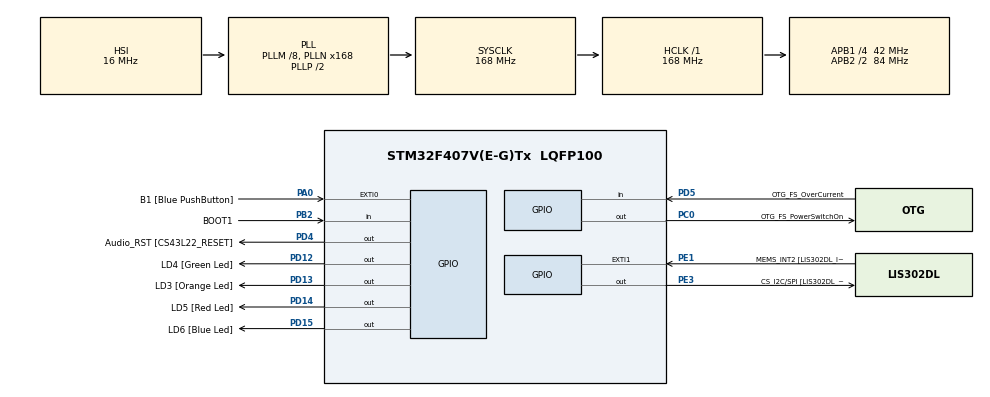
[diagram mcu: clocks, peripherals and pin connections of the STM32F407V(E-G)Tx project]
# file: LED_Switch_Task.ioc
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Mcu.Family=STM32F4
Mcu.Name=STM32F407V(E-G)Tx
Mcu.Package=LQFP100
NVIC.PriorityGroup=NVIC_PRIORITYGROUP_4
NVIC.TIM6_DAC_IRQn=true\:0\:0\:false\:false\:true\:false\:true\:true
NVIC.TimeBase=TIM6_DAC_IRQn
NVIC.TimeBaseIP=TIM6
PA0-WKUP.GPIO_Label=B1 [Blue PushButton]
PA0-WKUP.Signal=GPXTI0
PA10.GPIO_Label=OTG_FS_ID
PA10.GPIO_Mode=GPIO_MODE_AF_PP
PA10.GPIO_PuPd=GPIO_NOPULL
PA10.GPIO_Speed=GPIO_SPEED_FREQ_LOW
PA10.Signal=USB_OTG_FS_ID
PA11.GPIO_Label=OTG_FS_DM
PA11.GPIO_Mode=GPIO_MODE_AF_PP
PA11.GPIO_PuPd=GPIO_NOPULL
PA11.GPIO_Speed=GPIO_SPEED_FREQ_LOW
PA11.Signal=USB_OTG_FS_DM
PA12.GPIO_Label=OTG_FS_DP
PA12.GPIO_Mode=GPIO_MODE_AF_PP
PA12.GPIO_PuPd=GPIO_NOPULL
PA12.GPIO_Speed=GPIO_SPEED_FREQ_LOW
PA12.Signal=USB_OTG_FS_DP
PA13.GPIO_Label=SWDIO
PA13.Signal=SYS_JTMS-SWDIO
PA14.GPIO_Label=SWCLK
PA14.Signal=SYS_JTCK-SWCLK
PA4.GPIO_Label=I2S3_WS [CS43L22_LRCK]
PA4.GPIO_Mode=GPIO_MODE_AF_PP
PA4.GPIO_PuPd=GPIO_NOPULL
PA4.GPIO_Speed=GPIO_SPEED_FREQ_LOW
PA4.Signal=I2S3_WS
PA5.GPIO_Label=SPI1_SCK [LIS302DL_SCL/SPC]
PA5.GPIO_Mode=GPIO_MODE_AF_PP
PA5.GPIO_PuPd=GPIO_NOPULL
PA5.GPIO_Speed=GPIO_SPEED_FREQ_LOW
PA5.Signal=SPI1_SCK
PA6.GPIO_Label=SPI1_MISO [LIS302DL_SDO]
PA6.GPIO_Mode=GPIO_MODE_AF_PP
PA6.GPIO_PuPd=GPIO_NOPULL
PA6.GPIO_Speed=GPIO_SPEED_FREQ_LOW
PA6.Signal=SPI1_MISO
PA7.GPIO_Label=SPI1_MOSI [LIS302DL_SDA/SDI/SDO]
PA7.GPIO_Mode=GPIO_MODE_AF_PP
PA7.GPIO_PuPd=GPIO_NOPULL
PA7.GPIO_Speed=GPIO_SPEED_FREQ_LOW
PA7.Signal=SPI1_MOSI
PA9.GPIO_Label=VBUS_FS
PA9.GPIO_Mode=GPIO_MODE_INPUT
PA9.GPIO_PuPd=GPIO_NOPULL
PA9.Signal=USB_OTG_FS_VBUS
PB10.GPIO_Label=CLK_IN [MP45DT02_CLK]
PB10.GPIO_Mode=GPIO_MODE_AF_PP
PB10.GPIO_PuPd=GPIO_NOPULL
PB10.GPIO_Speed=GPIO_SPEED_FREQ_LOW
PB10.Signal=I2S2_CK
PB2.GPIO_Label=BOOT1
PB2.GPIO_Mode=GPIO_MODE_INPUT
PB2.GPIO_PuPd=GPIO_NOPULL
PB2.Signal=GPIO_Input
PB3.GPIO_Label=SWO
PB3.Signal=SYS_JTDO-SWO
PB6.GPIO_Label=Audio_SCL [CS43L22_SCL]
PB6.GPIO_Mode=GPIO_MODE_AF_OD
PB6.GPIO_PuPd=GPIO_NOPULL
PB6.GPIO_Speed=GPIO_SPEED_FREQ_LOW
PB6.Signal=I2C1_SCL
PB9.GPIO_Label=Audio_SDA [CS43L22_SDA]
PB9.GPIO_Mode=GPIO_MODE_AF_OD
PB9.GPIO_PuPd=GPIO_NOPULL
PB9.GPIO_Speed=GPIO_SPEED_FREQ_LOW
PB9.Signal=I2C1_SDA
PC0.GPIO_Label=OTG_FS_PowerSwitchOn
PC0.GPIO_PuPd=GPIO_NOPULL
PC0.GPIO_Speed=GPIO_SPEED_FREQ_LOW
PC0.PinState=GPIO_PIN_SET
PC0.Signal=GPIO_Output
PC10.GPIO_Label=I2S3_SCK [CS43L22_SCLK]
PC10.GPIO_Mode=GPIO_MODE_AF_PP
PC10.GPIO_PuPd=GPIO_NOPULL
PC10.GPIO_Speed=GPIO_SPEED_FREQ_LOW
PC10.Signal=I2S3_CK
PC12.GPIO_Label=I2S3_SD [CS43L22_SDIN]
PC12.GPIO_Mode=GPIO_MODE_AF_PP
PC12.GPIO_PuPd=GPIO_NOPULL
PC12.GPIO_Speed=GPIO_SPEED_FREQ_LOW
PC12.Signal=I2S3_SD
PC14-OSC32_IN.GPIO_Label=PC14-OSC32_IN
PC14-OSC32_IN.Signal=RCC_OSC32_IN
PC15-OSC32_OUT.GPIO_Label=PC15-OSC32_OUT
PC15-OSC32_OUT.Signal=RCC_OSC32_OUT
PC3.GPIO_Label=PDM_OUT [MP45DT02_DOUT]
PC3.GPIO_Mode=GPIO_MODE_AF_PP
PC3.GPIO_PuPd=GPIO_NOPULL
PC3.GPIO_Speed=GPIO_SPEED_FREQ_LOW
PC3.Signal=I2S2_SD
PC7.GPIO_Label=I2S3_MCK [CS43L22_MCLK]
PC7.GPIO_Mode=GPIO_MODE_AF_PP
PC7.GPIO_PuPd=GPIO_NOPULL
PC7.GPIO_Speed=GPIO_SPEED_FREQ_LOW
PC7.Signal=I2S3_MCK
PD12.GPIO_Label=LD4 [Green Led]
PD12.GPIO_PuPd=GPIO_NOPULL
PD12.GPIO_Speed=GPIO_SPEED_FREQ_LOW
PD12.Signal=GPIO_Output
PD13.GPIO_Label=LD3 [Orange Led]
PD13.GPIO_PuPd=GPIO_NOPULL
PD13.GPIO_Speed=GPIO_SPEED_FREQ_LOW
PD13.Signal=GPIO_Output
PD14.GPIO_Label=LD5 [Red Led]
PD14.GPIO_PuPd=GPIO_NOPULL
PD14.GPIO_Speed=GPIO_SPEED_FREQ_LOW
PD14.Signal=GPIO_Output
PD15.GPIO_Label=LD6 [Blue Led]
PD15.GPIO_PuPd=GPIO_NOPULL
PD15.GPIO_Speed=GPIO_SPEED_FREQ_LOW
PD15.Signal=GPIO_Output
PD4.GPIO_Label=Audio_RST [CS43L22_RESET]
PD4.GPIO_PuPd=GPIO_NOPULL
PD4.GPIO_Speed=GPIO_SPEED_FREQ_LOW
PD4.Signal=GPIO_Output
PD5.GPIO_Label=OTG_FS_OverCurrent
PD5.GPIO_Mode=GPIO_MODE_INPUT
PD5.GPIO_PuPd=GPIO_NOPULL
PD5.Signal=GPIO_Input
PE1.GPIO_Label=MEMS_INT2 [LIS302DL_INT2]
PE1.GPIO_ModeDefaultEXTI=GPIO_MODE_EVT_RISING
PE1.GPIO_PuPd=GPIO_NOPULL
PE1.Signal=GPXTI1
PE3.GPIO_Label=CS_I2C/SPI [LIS302DL_CS_I2C/SPI]
PE3.GPIO_PuPd=GPIO_NOPULL
PE3.GPIO_Speed=GPIO_SPEED_FREQ_LOW
PE3.Signal=GPIO_Output
PH0-OSC_IN.GPIO_Label=PH0-OSC_IN
PH0-OSC_IN.Signal=RCC_OSC_IN
PH1-OSC_OUT.GPIO_Label=PH1-OSC_OUT
PH1-OSC_OUT.Signal=RCC_OSC_OUT
ProjectManager.HeapSize=0x200
ProjectManager.StackSize=0x400
ProjectManager.TargetToolchain=STM32CubeIDE
RCC.48MHZClocksFreq_Value=48000000
RCC.AHBFreq_Value=168000000
RCC.APB1CLKDivider=RCC_HCLK_DIV4
RCC.APB1Freq_Value=42000000
RCC.APB1TimFreq_Value=84000000
RCC.APB2CLKDivider=RCC_HCLK_DIV2
RCC.APB2Freq_Value=84000000
RCC.APB2TimFreq_Value=168000000
RCC.CortexFreq_Value=168000000
RCC.HCLKFreq_Value=168000000
RCC.HSE_VALUE=8000000
RCC.HSI_VALUE=16000000
RCC.LSE_VALUE=32768
RCC.PLLM=8
RCC.PLLN=168
RCC.PLLQ=7
RCC.SYSCLKFreq_VALUE=168000000
RCC.SYSCLKSource=RCC_SYSCLKSOURCE_PLLCLK
RCC.VCOOutputFreq_Value=336000000
VP_SYS_VS_tim6.Mode=TIM6
board=STM32F407G-DISC1

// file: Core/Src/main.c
/* USER CODE BEGIN Header */
/**
  ******************************************************************************
  * @file           : main.c
  * @brief          : Main program body
  ******************************************************************************
  * @attention
  *
  * Copyright (c) 2025 STMicroelectronics.
  * All rights reserved.
  *
  * This software is licensed under terms that can be found in the LICENSE file
  * in the root directory of this software component.
  * If no LICENSE file comes with this software, it is provided AS-IS.
  *
  ******************************************************************************
  */
/* USER CODE END Header */
#include "main.h"

/* USER CODE BEGIN Includes */
#include "FreeRTOS.h"
#include "task.h"
#include <stdio.h>
/* USER CODE END Includes */

/* USER CODE BEGIN PV */

#define DWT_CTRL	(*(volatile uint32_t *)0xE0001000)

/* USER CODE END PV */

void SystemClock_Config(void);
static void MX_GPIO_Init(void);
/* USER CODE BEGIN PFP */

extern void SEGGER_UART_init(uint32_t);

void Red_LED_task(void *);
void Green_LED_task(void *);
void Orange_LED_task(void *);
void Switch_task(void *);

/* USER CODE END PFP */

int main(void)
{

  /* USER CODE BEGIN 1 */
	TaskHandle_t Red_LED_Handler, Green_LED_Handler, Orange_LED_Handler, Switch_Handler;
	BaseType_t status;
  /* USER CODE END 1 */

  /* MCU Configuration--------------------------------------------------------*/

  /* Reset of all peripherals, Initializes the Flash interface and the Systick. */
  HAL_Init();

  /* Configure the system clock */
  SystemClock_Config();

  /* Initialize all configured peripherals */
  MX_GPIO_Init();
  /* USER CODE BEGIN 2 */
  SEGGER_UART_init(500000);
  //Enable CYCCNT counter
  DWT_CTRL |= (1 << 0);

  SEGGER_SYSVIEW_Conf();
  //SEGGER_SYSVIEW_Start();

  status = xTaskCreate(Red_LED_task, "Red Task", 200, "Hello from Red Task", 1, &Red_LED_Handler);
  configASSERT(status == pdPASS);

  status = xTaskCreate(Green_LED_task, "Green Task", 200, "Hello from Green Task", 1, &Green_LED_Handler);
  configASSERT(status == pdPASS);Switch_task

  status = xTaskCreate(Orange_LED_task, "Orange Task", 200, "Hello from Orange Task", 1, &Orange_LED_Handler);
  configASSERT(status == pdPASS);

  status = xTaskCreate(Switch_task, "Switch Task", 200, "Hello from Orange Task", 4, &Switch_Handler);
  configASSERT(status == pdPASS);

  vTaskStartScheduler();

  // Insufficient memory in heap then control comes here
  /* USER CODE END 2 */

  /* Infinite loop */
  while (1)
  {

  }
}

void SystemClock_Config(void)
{
  RCC_OscInitTypeDef RCC_OscInitStruct = {0};
  RCC_ClkInitTypeDef RCC_ClkInitStruct = {0};

  /** Configure the main internal regulator output voltage
  */
  __HAL_RCC_PWR_CLK_ENABLE();
  __HAL_PWR_VOLTAGESCALING_CONFIG(PWR_REGULATOR_VOLTAGE_SCALE1);

  /** Initializes the RCC Oscillators according to the specified parameters
  * in the RCC_OscInitTypeDef structure.
  */
  RCC_OscInitStruct.OscillatorType = RCC_OSCILLATORTYPE_HSI;
  RCC_OscInitStruct.HSIState = RCC_HSI_ON;
  RCC_OscInitStruct.HSICalibrationValue = RCC_HSICALIBRATION_DEFAULT;
  RCC_OscInitStruct.PLL.PLLState = RCC_PLL_ON;
  RCC_OscInitStruct.PLL.PLLSource = RCC_PLLSOURCE_HSI;
  RCC_OscInitStruct.PLL.PLLM = 8;
  RCC_OscInitStruct.PLL.PLLN = 168;
  RCC_OscInitStruct.PLL.PLLP = RCC_PLLP_DIV2;
  RCC_OscInitStruct.PLL.PLLQ = 7;
  if (HAL_RCC_OscConfig(&RCC_OscInitStruct) != HAL_OK)
  {
    Error_Handler();
  }

  /** Initializes the CPU, AHB and APB buses clocks
  */
  RCC_ClkInitStruct.ClockType = RCC_CLOCKTYPE_HCLK|RCC_CLOCKTYPE_SYSCLK
                              |RCC_CLOCKTYPE_PCLK1|RCC_CLOCKTYPE_PCLK2;
  RCC_ClkInitStruct.SYSCLKSource = RCC_SYSCLKSOURCE_PLLCLK;
  RCC_ClkInitStruct.AHBCLKDivider = RCC_SYSCLK_DIV1;
  RCC_ClkInitStruct.APB1CLKDivider = RCC_HCLK_DIV4;
  RCC_ClkInitStruct.APB2CLKDivider = RCC_HCLK_DIV2;

  if (HAL_RCC_ClockConfig(&RCC_ClkInitStruct, FLASH_LATENCY_5) != HAL_OK)
  {
    Error_Handler();
  }
}

static void MX_GPIO_Init(void)
{
  GPIO_InitTypeDef GPIO_InitStruct = {0};

  /* GPIO Ports Clock Enable */
  __HAL_RCC_GPIOE_CLK_ENABLE();
  __HAL_RCC_GPIOC_CLK_ENABLE();
  __HAL_RCC_GPIOH_CLK_ENABLE();
  __HAL_RCC_GPIOA_CLK_ENABLE();
  __HAL_RCC_GPIOB_CLK_ENABLE();
  __HAL_RCC_GPIOD_CLK_ENABLE();

  /*Configure GPIO pin Output Level */
  HAL_GPIO_WritePin(CS_I2C_SPI_GPIO_Port, CS_I2C_SPI_Pin, GPIO_PIN_RESET);

  /*Configure GPIO pin Output Level */
  HAL_GPIO_WritePin(OTG_FS_PowerSwitchOn_GPIO_Port, OTG_FS_PowerSwitchOn_Pin, GPIO_PIN_SET);

  /*Configure GPIO pin Output Level */
  HAL_GPIO_WritePin(GPIOD, LD4_Pin|LD3_Pin|LD5_Pin|LD6_Pin
                          |Audio_RST_Pin, GPIO_PIN_RESET);

  /*Configure GPIO pin : CS_I2C_SPI_Pin */
  GPIO_InitStruct.Pin = CS_I2C_SPI_Pin;
  GPIO_InitStruct.Mode = GPIO_MODE_OUTPUT_PP;
  GPIO_InitStruct.Pull = GPIO_NOPULL;
  GPIO_InitStruct.Speed = GPIO_SPEED_FREQ_LOW;
  HAL_GPIO_Init(CS_I2C_SPI_GPIO_Port, &GPIO_InitStruct);

  /*Configure GPIO pin : OTG_FS_PowerSwitchOn_Pin */
  GPIO_InitStruct.Pin = OTG_FS_PowerSwitchOn_Pin;
  GPIO_InitStruct.Mode = GPIO_MODE_OUTPUT_PP;
  GPIO_InitStruct.Pull = GPIO_NOPULL;
  GPIO_InitStruct.Speed = GPIO_SPEED_FREQ_LOW;
  HAL_GPIO_Init(OTG_FS_PowerSwitchOn_GPIO_Port, &GPIO_InitStruct);

  /*Configure GPIO pin : PDM_OUT_Pin */
  GPIO_InitStruct.Pin = PDM_OUT_Pin;
  GPIO_InitStruct.Mode = GPIO_MODE_AF_PP;
  GPIO_InitStruct.Pull = GPIO_NOPULL;
  GPIO_InitStruct.Speed = GPIO_SPEED_FREQ_LOW;
  GPIO_InitStruct.Alternate = GPIO_AF5_SPI2;
  HAL_GPIO_Init(PDM_OUT_GPIO_Port, &GPIO_InitStruct);

  /*Configure GPIO pin : B1_Pin */
  GPIO_InitStruct.Pin = B1_Pin;
  GPIO_InitStruct.Mode = GPIO_MODE_IT_RISING;
  GPIO_InitStruct.Pull = GPIO_NOPULL;
  HAL_GPIO_Init(B1_GPIO_Port, &GPIO_InitStruct);

  /*Configure GPIO pin : I2S3_WS_Pin */
  GPIO_InitStruct.Pin = I2S3_WS_Pin;
  GPIO_InitStruct.Mode = GPIO_MODE_AF_PP;
  GPIO_InitStruct.Pull = GPIO_NOPULL;
  GPIO_InitStruct.Speed = GPIO_SPEED_FREQ_LOW;
  GPIO_InitStruct.Alternate = GPIO_AF6_SPI3;
  HAL_GPIO_Init(I2S3_WS_GPIO_Port, &GPIO_InitStruct);

  /*Configure GPIO pins : SPI1_SCK_Pin SPI1_MISO_Pin SPI1_MOSI_Pin */
  GPIO_InitStruct.Pin = SPI1_SCK_Pin|SPI1_MISO_Pin|SPI1_MOSI_Pin;
  GPIO_InitStruct.Mode = GPIO_MODE_AF_PP;
  GPIO_InitStruct.Pull = GPIO_NOPULL;
  GPIO_InitStruct.Speed = GPIO_SPEED_FREQ_LOW;
  GPIO_InitStruct.Alternate = GPIO_AF5_SPI1;
  HAL_GPIO_Init(GPIOA, &GPIO_InitStruct);

  /*Configure GPIO pin : BOOT1_Pin */
  GPIO_InitStruct.Pin = BOOT1_Pin;
  GPIO_InitStruct.Mode = GPIO_MODE_INPUT;
  GPIO_InitStruct.Pull = GPIO_NOPULL;
  HAL_GPIO_Init(BOOT1_GPIO_Port, &GPIO_InitStruct);

  /*Configure GPIO pin : CLK_IN_Pin */
  GPIO_InitStruct.Pin = CLK_IN_Pin;
  GPIO_InitStruct.Mode = GPIO_MODE_AF_PP;
  GPIO_InitStruct.Pull = GPIO_NOPULL;
  GPIO_InitStruct.Speed = GPIO_SPEED_FREQ_LOW;
  GPIO_InitStruct.Alternate = GPIO_AF5_SPI2;
  HAL_GPIO_Init(CLK_IN_GPIO_Port, &GPIO_InitStruct);

  /*Configure GPIO pins : LD4_Pin LD3_Pin LD5_Pin LD6_Pin
                           Audio_RST_Pin */
  GPIO_InitStruct.Pin = LD4_Pin|LD3_Pin|LD5_Pin|LD6_Pin
                          |Audio_RST_Pin;
  GPIO_InitStruct.Mode = GPIO_MODE_OUTPUT_PP;
  GPIO_InitStruct.Pull = GPIO_NOPULL;
  GPIO_InitStruct.Speed = GPIO_SPEED_FREQ_LOW;
  HAL_GPIO_Init(GPIOD, &GPIO_InitStruct);

  /*Configure GPIO pins : I2S3_MCK_Pin I2S3_SCK_Pin I2S3_SD_Pin */
  GPIO_InitStruct.Pin = I2S3_MCK_Pin|I2S3_SCK_Pin|I2S3_SD_Pin;
  GPIO_InitStruct.Mode = GPIO_MODE_AF_PP;
  GPIO_InitStruct.Pull = GPIO_NOPULL;
  GPIO_InitStruct.Speed = GPIO_SPEED_FREQ_LOW;
  GPIO_InitStruct.Alternate = GPIO_AF6_SPI3;
  HAL_GPIO_Init(GPIOC, &GPIO_InitStruct);

  /*Configure GPIO pin : VBUS_FS_Pin */
  GPIO_InitStruct.Pin = VBUS_FS_Pin;
  GPIO_InitStruct.Mode = GPIO_MODE_INPUT;
  GPIO_InitStruct.Pull = GPIO_NOPULL;
  HAL_GPIO_Init(VBUS_FS_GPIO_Port, &GPIO_InitStruct);

  /*Configure GPIO pins : OTG_FS_ID_Pin OTG_FS_DM_Pin OTG_FS_DP_Pin */
  GPIO_InitStruct.Pin = OTG_FS_ID_Pin|OTG_FS_DM_Pin|OTG_FS_DP_Pin;
  GPIO_InitStruct.Mode = GPIO_MODE_AF_PP;
  GPIO_InitStruct.Pull = GPIO_NOPULL;
  GPIO_InitStruct.Speed = GPIO_SPEED_FREQ_LOW;
  GPIO_InitStruct.Alternate = GPIO_AF10_OTG_FS;
  HAL_GPIO_Init(GPIOA, &GPIO_InitStruct);

  /*Configure GPIO pin : OTG_FS_OverCurrent_Pin */
  GPIO_InitStruct.Pin = OTG_FS_OverCurrent_Pin;
  GPIO_InitStruct.Mode = GPIO_MODE_INPUT;
  GPIO_InitStruct.Pull = GPIO_NOPULL;
  HAL_GPIO_Init(OTG_FS_OverCurrent_GPIO_Port, &GPIO_InitStruct);

  /*Configure GPIO pins : Audio_SCL_Pin Audio_SDA_Pin */
  GPIO_InitStruct.Pin = Audio_SCL_Pin|Audio_SDA_Pin;
  GPIO_InitStruct.Mode = GPIO_MODE_AF_OD;
  GPIO_InitStruct.Pull = GPIO_NOPULL;
  GPIO_InitStruct.Speed = GPIO_SPEED_FREQ_LOW;
  GPIO_InitStruct.Alternate = GPIO_AF4_I2C1;
  HAL_GPIO_Init(GPIOB, &GPIO_InitStruct);

  /*Configure GPIO pin : MEMS_INT2_Pin */
  GPIO_InitStruct.Pin = MEMS_INT2_Pin;
  GPIO_InitStruct.Mode = GPIO_MODE_EVT_RISING;
  GPIO_InitStruct.Pull = GPIO_NOPULL;
  HAL_GPIO_Init(MEMS_INT2_GPIO_Port, &GPIO_InitStruct);

}

/* USER CODE BEGIN 4 */

void Red_LED_task(void *data) {

	char Segger_data[128];
	while(1) {
		//printf("%s\n", (char *)data);

		snprintf(Segger_data, sizeof(Segger_data), "%s\n", (char *)data);
		SEGGER_SYSVIEW_PrintfTarget(Segger_data);

		HAL_GPIO_TogglePin(GPIOD, LED_RED_PIN);
		//HAL_Delay(1000);
		vTaskDelay(pdMS_TO_TICKS(1000));

		//taskYIELD(); //Used to make freeRTOS to operate in co-operative method
					// To Do this disable configUSE_PREEMPTION to 0 in FreeRTOSConfig.h
	}
}

void Green_LED_task(void *data) {

	char Segger_data[128];
	while(1) {
		//printf("%s\n", (char *)data);
		snprintf(Segger_data, sizeof(Segger_data), "%s\n", (char *)data);
		SEGGER_SYSVIEW_PrintfTarget(Segger_data);

		HAL_GPIO_TogglePin(GPIOD, LED_GREEN_PIN);
		//HAL_Delay(800);
		vTaskDelay(pdMS_TO_TICKS(800));
		//taskYIELD(); //Used to make freeRTOS to operate in co-operative method
					// To Do this disable configUSE_PREEMPTION to 0 in FreeRTOSConfig.h
	}
}

void Orange_LED_task(void *data) {

	char Segger_data[128];
	TickType_t xLastWakeTime;
	xLastWakeTime = xTaskGetTickCount();
	while(1) {
		//printf("%s\n", (char *)data);
		snprintf(Segger_data, sizeof(Segger_data), "%s\n", (char *)data);
		SEGGER_SYSVIEW_PrintfTarget(Segger_data);

		HAL_GPIO_TogglePin(GPIOD, LED_ORANGE_PIN);
		//HAL_Delay(400);
		//vTaskDelay(pdMS_TO_TICKS(400));
		vTaskDelayUntil(&xLastWakeTime, pdMS_TO_TICKS(400));
		//taskYIELD(); //Used to make freeRTOS to operate in co-operative method
					// To Do this disable configUSE_PREEMPTION to 0 in FreeRTOSConfig.h
	}
}

void Switch_task(void *data) {

	char Segger_data[128];
	snprintf(Segger_data, sizeof(Segger_data), "%s\n", (char *)data);
	SEGGER_SYSVIEW_PrintfTarget(Segger_data);
	if(HAL_GPIO_ReadPin(GPIOD, SWITCH_GPIO_PIN)) {

	}

}

/* USER CODE END 4 */

void HAL_TIM_PeriodElapsedCallback(TIM_HandleTypeDef *htim)
{
  if (htim->Instance == TIM6)
  {
    HAL_IncTick();
  }
}

void Error_Handler(void)
{
  __disable_irq();
  while (1)
  {
  }
}
